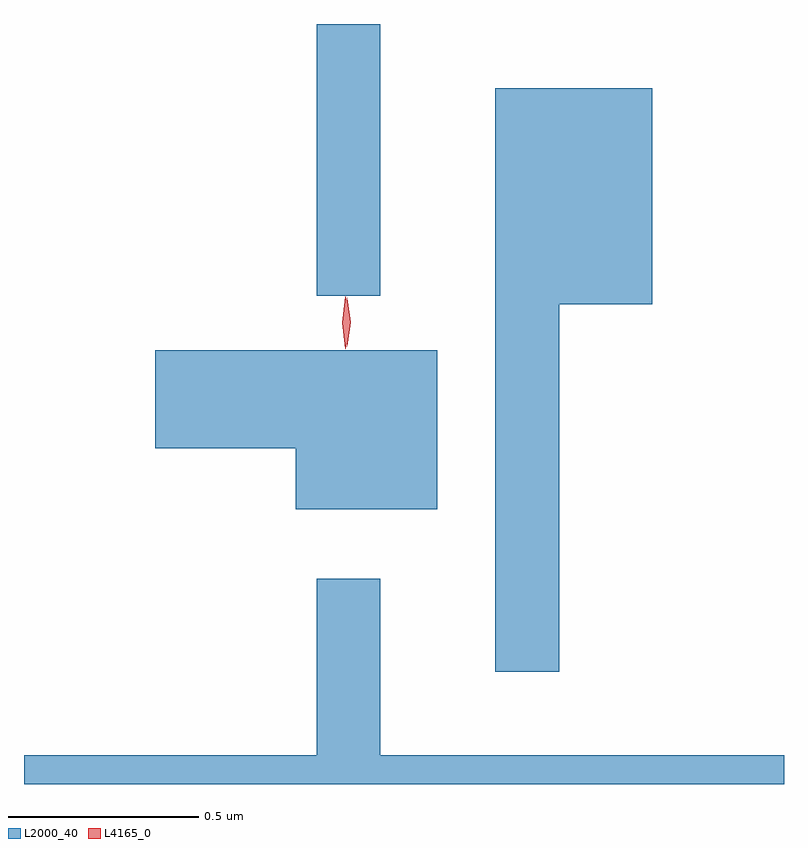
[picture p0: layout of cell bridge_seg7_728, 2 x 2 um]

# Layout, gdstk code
import gdstk
lib = gdstk.Library(unit=1e-6, precision=1e-09)
def R(c, l, rs):  # rectangles x0, y0, x1, y1
    for r in rs: c.add(gdstk.rectangle(r[:2], r[2:], *l))
def P(c, l, *ps):  # polygons
    for p in ps: c.add(gdstk.Polygon(p, *l))
L2000_40 = (2000, 40)
L4165_0 = (4165, 0)

bridge_seg7_728 = lib.new_cell('bridge_seg7_728')
R(bridge_seg7_728, L2000_40, [(897.631,1726.893,897.799,1727.608)])
P(bridge_seg7_728, L2000_40, [(898.269,1726.871),(898.514,1726.871),(898.514,1727.439),(898.101,1727.439),(898.101,1725.903),(898.269,1725.903)],
  [(897.949,1726.749),(897.206,1726.749),(897.206,1726.491),(897.576,1726.491),(897.576,1726.331),(897.949,1726.331)],
  [(898.861,1725.684),(897.799,1725.684),(897.799,1726.148),(897.631,1726.148),(897.631,1725.684),(896.861,1725.684),(896.861,1725.608),(898.861,1725.608)])
P(bridge_seg7_728, L4165_0, [(897.707,1726.754),(897.698,1726.822),(897.707,1726.89),(897.708,1726.89),(897.708,1726.89),(897.718,1726.822),(897.708,1726.754),(897.708,1726.754)],
  [(897.711,1726.76),(897.711,1726.76),(897.701,1726.823),(897.711,1726.886),(897.711,1726.887),(897.712,1726.886),(897.721,1726.823),(897.712,1726.76)])

lib.write_gds('bridge_seg7_728.gds')
